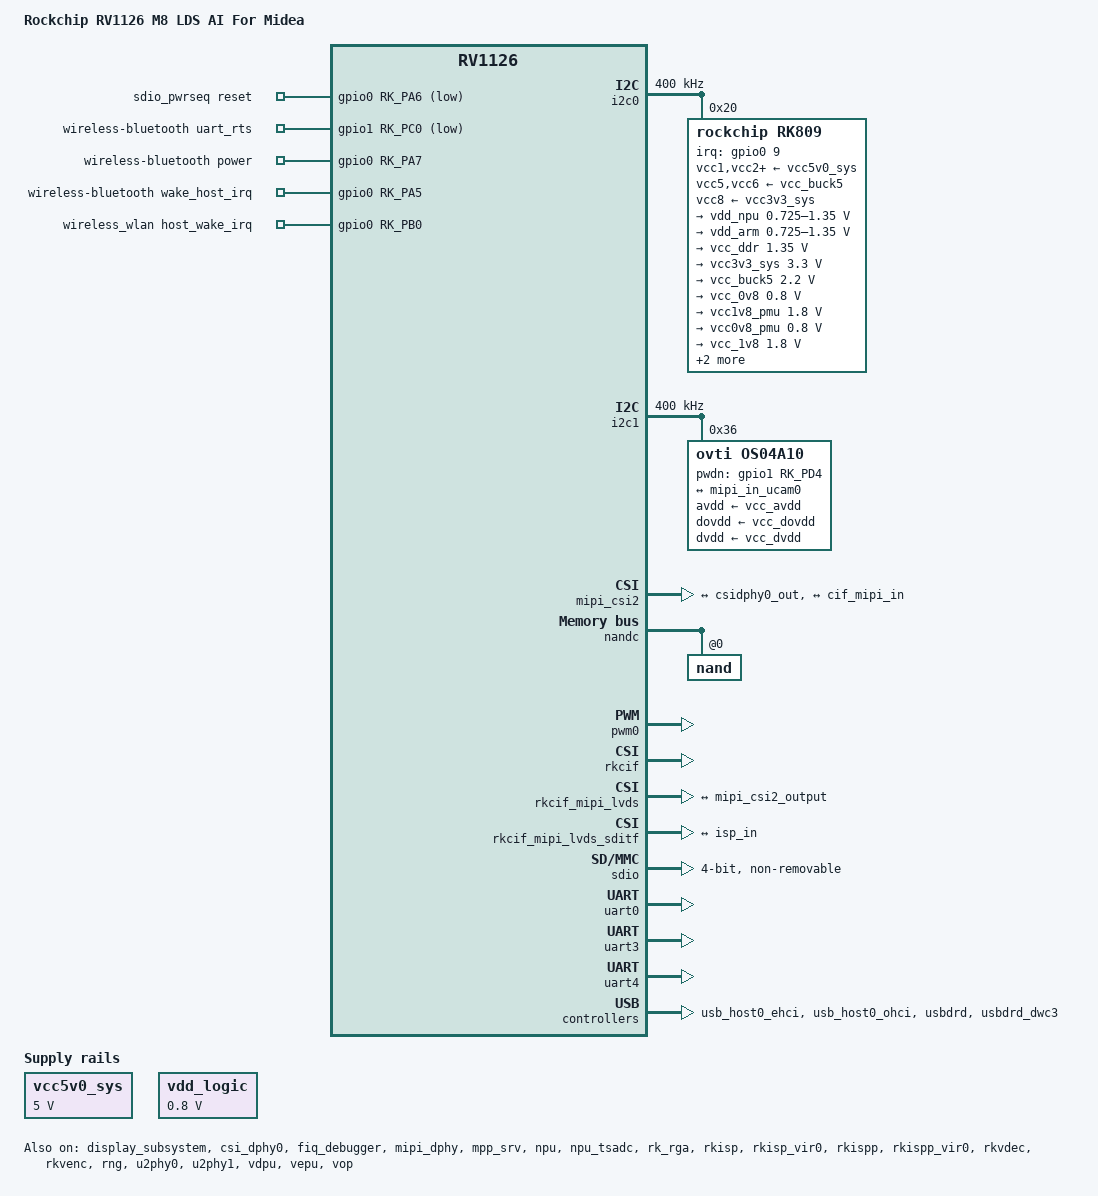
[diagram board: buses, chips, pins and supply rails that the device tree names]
// SPDX-License-Identifier: (GPL-2.0+ OR MIT)
/*
 * Copyright (c) 2020 Rockchip Electronics Co., Ltd.
 */

/dts-v1/; //主意这一定要包含，才是一个dts文件，不然是编译不过，并且错误提示只说不能parse 。 dtsi文件是不保护这个
#include "rv1126.dtsi"//这个是芯片级别的文件
#include <dt-bindings/input/input.h>//输入文件

/ {
	model = "Rockchip RV1126 M8 LDS AI For Midea";
	compatible = "rockchip,rv1126-midea-m8-lds-ai", "rockchip,rv1126";
	chosen {
		bootargs = "console=ttyFIQ0 root=PARTUUID=614e0000-0000 rootwait";
	};

	rk809_sound: rk809-sound {//这是rk809音频相关
		compatible = "simple-audio-card";
		simple-audio-card,format = "i2s";
		simple-audio-card,name = "rockchip,rk809-codec";
		simple-audio-card,mclk-fs = <256>;
		simple-audio-card,cpu {
			sound-dai = <&i2s0_8ch>;
		};
		simple-audio-card,codec {
			sound-dai = <&rk809_codec>;
		};
	};

	sdio_pwrseq: sdio-pwrseq { //这是WiFi的sdio接口
		compatible = "mmc-pwrseq-simple";
		pinctrl-names = "default";
		pinctrl-0 = <&wifi_enable_h>;

		/*
		 * On the module itself this is one of these (depending
		 * on the actual card populated):
		 * - SDIO_RESET_L_WL_REG_ON
		 * - PDN (power down when low)
		 */
		reset-gpios = <&gpio0 RK_PA6 GPIO_ACTIVE_LOW>;
	};

	vcc5v0_sys: vccsys {//5v是系统电源
		compatible = "regulator-fixed";
		regulator-name = "vcc5v0_sys";
		regulator-always-on;
		regulator-boot-on;
		regulator-min-microvolt = <5000000>;
		regulator-max-microvolt = <5000000>;
	};

//VD_LOGIC: 包含一些外设的控制器和系统总线，比如：USB，EMMC，GMAC，SPI，I2C，EDP，VOP，AXI，AHB，APB 等
	vdd_logic: vdd_logic {//分立电源 。你要懂得啥是pmic啥是分立电影
		compatible = "regulator-fixed";
		regulator-name = "vdd_logic";
		regulator-always-on;
		regulator-boot-on;
		regulator-min-microvolt = <800000>;
		regulator-max-microvolt = <800000>;
	};

	wireless-bluetooth { //蓝牙
		compatible = "bluetooth-platdata";
		uart_rts_gpios = <&gpio1 RK_PC0 GPIO_ACTIVE_LOW>;//ok
		pinctrl-names = "default", "rts_gpio";
		pinctrl-0 = <&uart0_rtsn>;
		pinctrl-1 = <&uart0_rtsn_gpio>;
		BT,power_gpio    = <&gpio0 RK_PA7 GPIO_ACTIVE_HIGH>; //rset ok
		BT,wake_host_irq = <&gpio0 RK_PA5 GPIO_ACTIVE_HIGH>; //wake ok
		status = "okay";
	};

	wireless_wlan: wireless-wlan {//wifi
		compatible = "wlan-platdata";
		rockchip,grf = <&grf>;
		clocks = <&rk809 1>;
		clock-names = "clk_wifi";
		pinctrl-names = "default";
		pinctrl-0 = <&wifi_wake_host>;
		wifi_chip_type = "ap6236";
		/* WIFI,poweren_gpio = <&gpio0 RK_PA6 GPIO_ACTIVE_HIGH>; */
		WIFI,host_wake_irq = <&gpio0 RK_PB0 GPIO_ACTIVE_HIGH>;
		status = "okay";
	};
};

&cpu0 { //cpu调压
	cpu-supply = <&vdd_arm>;
};

&cpu_tsadc {//这是个cpu内部的温度计
	status = "okay";
};

&display_subsystem {//显示相关，就算你没有显示，也要开启，用来分配虽然没有显示，但用它来分配drm buffer
	status = "okay";
};

&csi_dphy0 { //摄像头相关
	status = "okay";

	ports {
		#address-cells = <1>;
		#size-cells = <0>;
		port@0 {
			reg = <0>;
			#address-cells = <1>;
			#size-cells = <0>;

			mipi_in_ucam0: endpoint@1 {
				reg = <1>;
				remote-endpoint = <&ucam_out0>;
				data-lanes = <1 2 3 4>;
			};
		};
		port@1 {
			reg = <1>;
			#address-cells = <1>;
			#size-cells = <0>;

			csidphy0_out: endpoint@0 {
				reg = <0>;
				remote-endpoint = <&mipi_csi2_input>;
			};
		};
	};
};

&fiq_debugger { //这个了，这个就是debuger口，并且这个开起来后，一定不要开uart2节点。二者冲突，会死机
	status = "okay";
};

//SoC 的外部供电主要分为 DCDC 和 LDO 两种：
//DCDC 一般是指开关电源，转换效率高，效率能达到~80%~90%，电流较大时，需要用 DCDC 提高电源效率；
//LDO 主要特点是输入电流等于输出电流，所以电源效率就等于输出电压/输入电压，假设输入3.8V，输出 1.0V，电源效率就是 1V/3.8V=26.3%, 电源效率低；
&i2c0 {  //pmic rk809是i2c读写寄存器
	status = "okay";
	clock-frequency = <400000>;

	rk809: pmic@20 {
		compatible = "rockchip,rk809";
		reg = <0x20>;
		interrupt-parent = <&gpio0>;
		interrupts = <9 IRQ_TYPE_LEVEL_LOW>;
		pinctrl-names = "default", "pmic-sleep",
			"pmic-power-off", "pmic-reset";
		pinctrl-0 = <&pmic_int>;
		pinctrl-1 = <&soc_slppin_gpio>, <&rk817_slppin_slp>;
		pinctrl-2 = <&soc_slppin_gpio>, <&rk817_slppin_pwrdn>;
		pinctrl-3 = <&soc_slppin_slp>, <&rk817_slppin_rst>;
		rockchip,system-power-controller;
		wakeup-source;
		#clock-cells = <1>;
		clock-output-names = "rk808-clkout1", "rk808-clkout2";
		/* 0: rst the pmic, 1: rst regs (default in codes) */
		pmic-reset-func = <0>;  //？？？

		vcc1-supply = <&vcc5v0_sys>;
		vcc2-supply = <&vcc5v0_sys>;
		vcc3-supply = <&vcc5v0_sys>;
		vcc4-supply = <&vcc5v0_sys>;
		vcc5-supply = <&vcc_buck5>;
		vcc6-supply = <&vcc_buck5>;
		vcc7-supply = <&vcc5v0_sys>;
		vcc8-supply = <&vcc3v3_sys>;
		vcc9-supply = <&vcc5v0_sys>;

		pwrkey {
			status = "okay";
		};

		pinctrl_rk8xx: pinctrl_rk8xx {
			gpio-controller;
			#gpio-cells = <2>;

			/omit-if-no-ref/
			rk817_slppin_null: rk817_slppin_null {
				pins = "gpio_slp";
				function = "pin_fun0";
			};

			/omit-if-no-ref/
			rk817_slppin_slp: rk817_slppin_slp {
				pins = "gpio_slp";
				function = "pin_fun1";
			};

			/omit-if-no-ref/
			rk817_slppin_pwrdn: rk817_slppin_pwrdn {
				pins = "gpio_slp";
				function = "pin_fun2";
			};

			/omit-if-no-ref/
			rk817_slppin_rst: rk817_slppin_rst {
				pins = "gpio_slp";
				function = "pin_fun3";
			};
		};

		regulators {

			vdd_npu: DCDC_REG1 {
				regulator-always-on;
				regulator-boot-on;
				regulator-min-microvolt = <725000>;
				regulator-max-microvolt = <1350000>;
				regulator-ramp-delay = <6001>;
				regulator-initial-mode = <0x2>;
				regulator-name = "vdd_npu";
				regulator-state-mem {
					regulator-off-in-suspend;
				};
			};

			vdd_arm: DCDC_REG2 { //OK+1 VDD_CORE/VDD_CPU/VDD_ARM 这三个名字是指同一个电源，即：ARM 核心的电源，主要从以下几个方面分析功耗
			///* 获取频率电压表, target这一列表示某个频率需求的电压 */ cat /sys/kernel/debug/opp/opp_summary
				regulator-always-on;
				regulator-boot-on;
				regulator-min-microvolt = <725000>;
				regulator-max-microvolt = <1350000>;
				regulator-ramp-delay = <6001>;
				regulator-initial-mode = <0x2>;
				regulator-name = "vdd_arm";
				regulator-state-mem {
					regulator-off-in-suspend;
				};
			};
//VCC_DDR 主要是给 DDR 颗粒和 SoC 上 DDR-IO 部分供电，影响 VCC_DDR 功耗的参数有：DDR 频
//率，DDR 的负载，DDR 低功耗配置，DDR 颗粒类型等。相同条件下，不同厂商的 DDR 颗粒，功耗可
//能也会有很大的差异。
			vcc_ddr: DCDC_REG3 { //OK+1这个要注意修改为1.35v，
				regulator-always-on;
				regulator-boot-on;
				regulator-min-microvolt = <1350000>;
				regulator-max-microvolt = <1350000>;
				regulator-initial-mode = <0x2>;
				regulator-name = "vcc_ddr";
				regulator-state-mem {
					regulator-on-in-suspend;
					regulator-suspend-microvolt = <1350000>;
				};
			};

			vcc3v3_sys: DCDC_REG4 { //ok
				regulator-always-on;
				regulator-boot-on;
				regulator-min-microvolt = <3300000>;
				regulator-max-microvolt = <3300000>;
				regulator-initial-mode = <0x2>;
				regulator-name = "vcc3v3_sys";
				regulator-state-mem {
					regulator-on-in-suspend;
					regulator-suspend-microvolt = <3300000>;
				};
			};

			vcc_buck5: DCDC_REG5 { //ok+1
				regulator-always-on;
				regulator-boot-on;
				regulator-min-microvolt = <2200000>;
				regulator-max-microvolt = <2200000>;
				regulator-name = "vcc_buck5";
				regulator-state-mem {
					regulator-on-in-suspend;
					regulator-suspend-microvolt = <2200000>;
				};
			};

			vcc_0v8: LDO_REG1 { //ok
				regulator-always-on;
				regulator-boot-on;
				regulator-min-microvolt = <800000>;
				regulator-max-microvolt = <800000>;
				regulator-name = "vcc_0v8";
				regulator-state-mem {
					regulator-off-in-suspend;
				};
			};

			vcc1v8_pmu: LDO_REG2 { //ok
				regulator-always-on;
				regulator-boot-on;
				regulator-min-microvolt = <1800000>;
				regulator-max-microvolt = <1800000>;
				regulator-name = "vcc1v8_pmu";
				regulator-state-mem {
					regulator-on-in-suspend;
					regulator-suspend-microvolt = <1800000>;
				};
			};

			vcc0v8_pmu: LDO_REG3 { //ok
				regulator-always-on;
				regulator-boot-on;
				regulator-min-microvolt = <800000>;
				regulator-max-microvolt = <800000>;
				regulator-name = "vcc0v8_pmu";
				regulator-state-mem {
					regulator-on-in-suspend;
					regulator-suspend-microvolt = <800000>;
				};
			};

			vcc_1v8: LDO_REG4 { //ok
				regulator-always-on;
				regulator-boot-on;
				regulator-min-microvolt = <1800000>;
				regulator-max-microvolt = <1800000>;
				regulator-name = "vcc_1v8";
				regulator-state-mem {
					regulator-off-in-suspend;
				};
			};

			vcc_dovdd: LDO_REG5 {//ok
				regulator-boot-on;
				regulator-min-microvolt = <1800000>;
				regulator-max-microvolt = <1800000>;
				regulator-name = "vcc_dovdd";
				regulator-state-mem {
					regulator-off-in-suspend;
				};
			};

			vcc_dvdd: LDO_REG6 {//ok
				regulator-min-microvolt = <1200000>;
				regulator-max-microvolt = <1200000>;
				regulator-name = "vcc_dvdd";
				regulator-state-mem {
					regulator-off-in-suspend;
				};
			};

			vcc_avdd: LDO_REG7 {//ok
				regulator-min-microvolt = <2800000>;
				regulator-max-microvolt = <2800000>;
				regulator-name = "vcc_avdd";
				regulator-state-mem {
					regulator-off-in-suspend;
				};
			};

			vccio_sd: LDO_REG8 {//这个无sd卡电源，关闭
				regulator-boot-on;
				regulator-min-microvolt = <1800000>;
				regulator-max-microvolt = <3300000>;
				regulator-name = "vccio_sd";
				regulator-state-mem {
					regulator-off-in-suspend;
				};
			};

			vcc3v3_sd: LDO_REG9 {//这个无sd卡电源，关闭
				regulator-boot-on;
				regulator-min-microvolt = <3300000>;
				regulator-max-microvolt = <3300000>;
				regulator-name = "vcc3v3_sd";
				regulator-state-mem {
					regulator-off-in-suspend;
				};
			};

			vcc5v0_host: SWITCH_REG1 { //ok
				regulator-name = "vcc5v0_host";
			};

			vcc_3v3: SWITCH_REG2 {//ok
				regulator-always-on;
				regulator-boot-on;
				regulator-name = "vcc_3v3";
			};
		};

		rk809_codec: codec {  //音频相关
			#sound-dai-cells = <0>;
			compatible = "rockchip,rk809-codec", "rockchip,rk817-codec";
			clocks = <&cru MCLK_I2S0_TX_OUT2IO>;
			clock-names = "mclk";
			pinctrl-names = "default";
			assigned-clocks = <&cru MCLK_I2S0_TX_OUT2IO>;
			assigned-clock-parents = <&cru MCLK_I2S0_TX>;
			pinctrl-0 = <&i2s0m0_mclk>;
			hp-volume = <20>;
			spk-volume = <3>;
		};
	};
};

&i2c1 { //这个是摄像头相关的i2c总线
	status = "okay";
	clock-frequency = <400000>;

	os04a10: os04a10@36 {
		compatible = "ovti,os04a10";
		reg = <0x36>;
		clocks = <&cru CLK_MIPICSI_OUT>;
		clock-names = "xvclk";
		power-domains = <&power RV1126_PD_VI>;
		pinctrl-names = "rockchip,camera_default";
		pinctrl-0 = <&mipicsi_clk0>;
		avdd-supply = <&vcc_avdd>;
		dovdd-supply = <&vcc_dovdd>;
		dvdd-supply = <&vcc_dvdd>;
		pwdn-gpios = <&gpio1 RK_PD4 GPIO_ACTIVE_HIGH>;
		rockchip,camera-module-index = <1>;
		rockchip,camera-module-facing = "front";
		rockchip,camera-module-name = "CMK-OT1607-FV1";
		rockchip,camera-module-lens-name = "M12-40IRC-4MP-F16";
		//ir-cut = <&cam_ircut0>; 删除红外
		port {
			ucam_out0: endpoint {
				remote-endpoint = <&mipi_in_ucam0>;
				data-lanes = <1 2 3 4>;
			};
		};
	};
};

&mipi_csi2 { //摄像头mipi接口
	status = "okay";

	ports {
		#address-cells = <1>;
		#size-cells = <0>;

		port@0 {
			reg = <0>;
			#address-cells = <1>;
			#size-cells = <0>;

			mipi_csi2_input: endpoint@1 {
				reg = <1>;
				remote-endpoint = <&csidphy0_out>;
				data-lanes = <1 2 3 4>;
			};
		};

		port@1 {
			reg = <1>;
			#address-cells = <1>;
			#size-cells = <0>;

			mipi_csi2_output: endpoint@0 {
				reg = <0>;
				remote-endpoint = <&cif_mipi_in>;
				data-lanes = <1 2 3 4>;
			};
		};
	};
};

&mipi_dphy {
	status = "okay";
};

&mpp_srv { //mpp是rockchip的一种多媒体框架
	status = "okay";
};

&nandc {  //nand flash
	/delete-property/ pinctrl-names;
	/delete-property/ pinctrl-0;
	#address-cells = <1>;
	#size-cells = <0>;
	status = "okay";
	nand@0 {
		reg = <0>;
		nand-bus-width = <8>;
		nand-ecc-mode = "hw";
		nand-ecc-strength = <16>;
		nand-ecc-step-size = <1024>;
	};
};

&npu { //加速使用的
	npu-supply = <&vdd_npu>;
	status = "okay";
};

&npu_tsadc {//加速使用的 adc
	status = "okay";
};

&pinctrl {  //相关的硬件引脚的初始化。这样有个好处，显示器
	pmic {
		/omit-if-no-ref/
		pmic_int: pmic_int {
			rockchip,pins =
				<0 RK_PB1 RK_FUNC_GPIO &pcfg_pull_up>;
		};

		/omit-if-no-ref/
		soc_slppin_gpio: soc_slppin_gpio {
			rockchip,pins =
				<0 RK_PB2 RK_FUNC_GPIO &pcfg_output_low>;
		};

		/omit-if-no-ref/
		soc_slppin_slp: soc_slppin_slp {
			rockchip,pins =
				<0 RK_PB2 RK_FUNC_1 &pcfg_pull_none>;
		};

		/omit-if-no-ref/
		soc_slppin_rst: soc_slppin_rst {
			rockchip,pins =
				<0 RK_PB2 RK_FUNC_2 &pcfg_pull_none>;
		};
	};

	sdio-pwrseq { //ok
		/omit-if-no-ref/
		wifi_enable_h: wifi-enable-h {
			rockchip,pins = <0 RK_PA6 RK_FUNC_GPIO &pcfg_pull_none>;
		};
	};

	wireless-wlan { //ok
		/omit-if-no-ref/
		wifi_wake_host: wifi-wake-host {
			rockchip,pins = <0 RK_PB0 0 &pcfg_pull_up>;
		};
	};
};

&pmu_io_domains { //ok，删除sd卡 这个就是cpu端的电源域
	status = "okay";

	pmuio0-supply = <&vcc1v8_pmu>;
	pmuio1-supply = <&vcc3v3_sys>;
//	vccio2-supply = <&vccio_sd>;
	vccio3-supply = <&vcc_1v8>;
	vccio4-supply = <&vcc_1v8>;
	vccio5-supply = <&vcc_3v3>;
	vccio6-supply = <&vcc_1v8>;
	vccio7-supply = <&vcc_1v8>;
};

&pwm0 {//PWM0_M1_LDS ,lds就是激光的意思。修改pwm1m1_pins_pull_down
	status = "okay";
	pinctrl-names = "active";
	pinctrl-0 = <&pwm0m1_pins_pull_down>;
};

&ramoops { //ramoops指的是采用ram保存oops信息的一个功能，
	status = "okay";
};

&rk_rga { //rga模块，就是一个2d图像的处理准备
	status = "okay";
};

&rkcif { //cif
	status = "okay";
};

&rkcif_mmu { //camera mmu
	status = "disabled";
};

&rkcif_mipi_lvds { //camera lvds接口
	status = "okay";

	port {
		/* MIPI CSI-2 endpoint */
		cif_mipi_in: endpoint {
			remote-endpoint = <&mipi_csi2_output>;
			data-lanes = <1 2 3 4>;
		};
	};
};

&rkcif_mipi_lvds_sditf { //camera lvds相关
	status = "okay";

	port {
		/* MIPI CSI-2 endpoint */
		mipi_lvds_sditf: endpoint {
			remote-endpoint = <&isp_in>;
			data-lanes = <1 2 3 4>;
		};
	};
};

&rkisp { //isp 图像处理相关
	status = "okay";
};

&rkisp_vir0 {  //isp 图像处理相关
	status = "okay";

	ports {
		port@0 {
			reg = <0>;
			#address-cells = <1>;
			#size-cells = <0>;

			isp_in: endpoint@0 {
				reg = <0>;
				remote-endpoint = <&mipi_lvds_sditf>;
			};
		};
	};
};

&rkisp_mmu { //isp 图像处理相关
	status = "disabled";
};

&rkispp {//isp 图像处理相关
	status = "okay";
	/* the max input w h and fps of mulit sensor */
	//max-input = <2688 1520 30>;
};

&rkispp_vir0 {//isp 图像处理相关
	status = "okay";
};

&rkispp_mmu {//isp 图像处理相关
	status = "okay";
};

&rkvdec { 
	status = "okay";
};

&rkvdec_mmu {
	status = "okay";
};

&rkvenc { //这个VDD_NPU_VEPU 是vepu和npu两个点连在一起来
	venc-supply = <&vdd_npu>;
	status = "okay";
};

&rkvenc_mmu {
	status = "okay";
};

&rng { //rng是随机数发生器
	status = "okay";
};

&rockchip_suspend {//和cpu休眠相关
	status = "okay";
	rockchip,sleep-debug-en = <1>;
	rockchip,sleep-mode-config = <
		(0
		| RKPM_SLP_ARMOFF
		| RKPM_SLP_PMU_PMUALIVE_32K
		| RKPM_SLP_PMU_DIS_OSC
		| RKPM_SLP_PMIC_LP
		)
	>;
	rockchip,wakeup-config = <
		(0
		| RKPM_GPIO_WKUP_EN
		)
	>;
};

&sdio { //配置wifi的sdio接口属性，经常修改
	max-frequency = <200000000>;
	bus-width = <4>;
	cap-sd-highspeed;
	cap-sdio-irq;
	keep-power-in-suspend;
	non-removable;
	rockchip,default-sample-phase = <90>;
	sd-uhs-sdr104;
	supports-sdio;
	mmc-pwrseq = <&sdio_pwrseq>;
	status = "okay";
};

&u2phy0 { //usb2.0 
	status = "okay";
	vup-gpios = <&gpio0 RK_PC1 GPIO_ACTIVE_LOW>;
	u2phy_otg: otg-port {
		status = "okay";
	};
};

&u2phy1 { //usb2.0 
	status = "okay";
	u2phy_host: host-port {
		status = "okay";
		phy-supply = <&vcc5v0_host>;
	};
};

&uart0 {//wifi SDIO AP6236
	pinctrl-names = "default";
	pinctrl-0 = <&uart0_xfer &uart0_ctsn>;
	status = "okay";
};

&uart2 {//debug 注意了，如果你fiq关闭了，那么
	status = "disabled";
};

&uart3 {//Mainboard
	status = "okay";
};

&uart4 {//LDS 
	status = "okay";
};

&usb_host0_ehci {  
	status = "okay";
};

&usb_host0_ohci {
	status = "okay";
};

&usbdrd {
	status = "okay";
};

&usbdrd_dwc3 {
	status = "okay";
	extcon = <&u2phy0>;
};

&vdpu {
	status = "okay";
};

&vepu {  // MPP 支持的编码器硬件分为 vepu 系列和 rkvenc 系列，
	status = "okay";
};
//vepu 系列支持 H.264 编码，vp8 编码和jpeg 编码，配备于绝大多数 RK 芯片中。rkvenc 系列只支持 H.264 编码，目前只配备于 RV1109/RV1126Fuzhou Rockchip Electronics Co., Ltd.
//Rockchip Confidential  31/ 38系统芯片，其支持的编码功能相对于 vepu 系统会更多更强。

&vpu_mmu {
	status = "okay";
};

&vop {
	status = "okay";
};

&vop_mmu {
	status = "okay";
};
